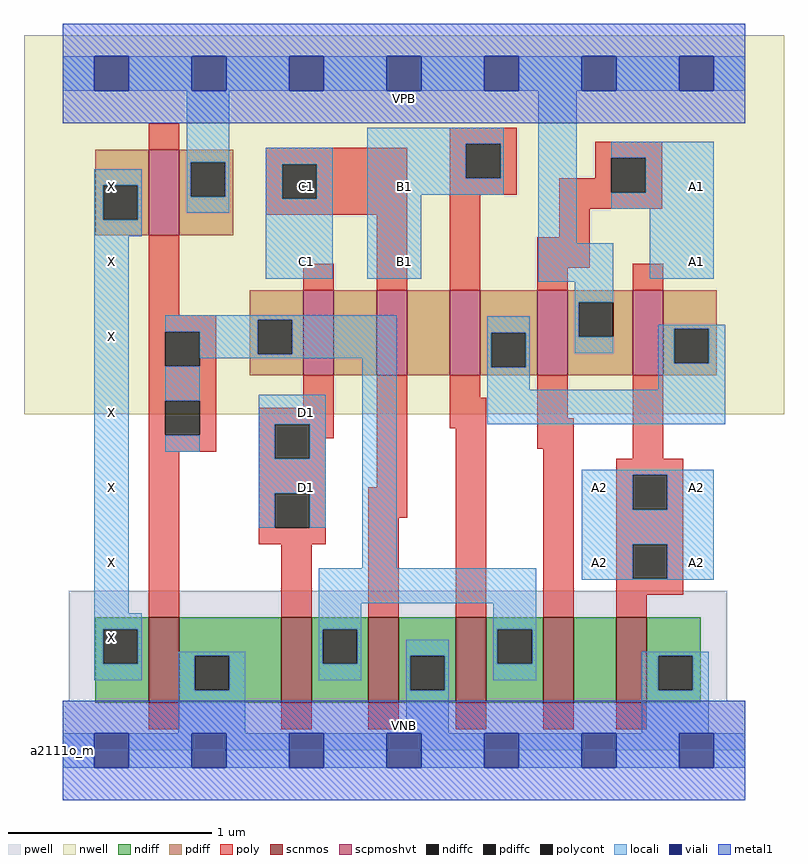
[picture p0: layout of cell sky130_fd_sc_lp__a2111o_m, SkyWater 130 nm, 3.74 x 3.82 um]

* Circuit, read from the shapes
.subckt sky130_fd_sc_lp__a2111o_m A1 A2 B1 C1 D1 VGND VNB VPB VPWR X
XM1 VGND n1 X VNB sky130_fd_pr__nfet_01v8 w=0.42 l=0.15
XM2 n1 D1 VGND VNB sky130_fd_pr__nfet_01v8 w=0.42 l=0.15
XM3 VGND C1 n1 VNB sky130_fd_pr__nfet_01v8 w=0.42 l=0.15
XM4 n1 B1 VGND VNB sky130_fd_pr__nfet_01v8 w=0.42 l=0.15
XM5 n2 A1 n1 VNB sky130_fd_pr__nfet_01v8 w=0.42 l=0.15
XM6 VGND A2 n2 VNB sky130_fd_pr__nfet_01v8 w=0.42 l=0.15
XM7 VPWR n1 X VPB sky130_fd_pr__pfet_01v8_hvt w=0.42 l=0.15
XM8 n3 D1 n1 VPB sky130_fd_pr__pfet_01v8_hvt w=0.42 l=0.15
XM9 n4 C1 n3 VPB sky130_fd_pr__pfet_01v8_hvt w=0.42 l=0.15
XM10 n5 B1 n4 VPB sky130_fd_pr__pfet_01v8_hvt w=0.42 l=0.15
XM11 VPWR A1 n5 VPB sky130_fd_pr__pfet_01v8_hvt w=0.42 l=0.15
XM12 n5 A2 VPWR VPB sky130_fd_pr__pfet_01v8_hvt w=0.42 l=0.15
.ends

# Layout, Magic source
magic
tech sky130A
magscale 1 2
<< nwell >>
rect -38 331 710 704
<< pwell >>
rect 6 49 654 157
rect 0 0 672 49
<< scnmos >>
rect 85 47 115 131
rect 215 47 245 131
rect 301 47 331 131
rect 387 47 417 131
rect 473 47 503 131
rect 545 47 575 131
<< scpmoshvt >>
rect 85 507 115 591
rect 237 369 267 453
rect 309 369 339 453
rect 381 369 411 453
rect 467 369 497 453
rect 561 369 591 453
<< ndiff >>
rect 32 119 85 131
rect 32 85 40 119
rect 74 85 85 119
rect 32 47 85 85
rect 115 93 215 131
rect 115 59 130 93
rect 164 59 215 93
rect 115 47 215 59
rect 245 119 301 131
rect 245 85 256 119
rect 290 85 301 119
rect 245 47 301 85
rect 331 93 387 131
rect 331 59 342 93
rect 376 59 387 93
rect 331 47 387 59
rect 417 119 473 131
rect 417 85 428 119
rect 462 85 473 119
rect 417 47 473 85
rect 503 47 545 131
rect 575 93 628 131
rect 575 59 586 93
rect 620 59 628 93
rect 575 47 628 59
<< pdiff >>
rect 32 556 85 591
rect 32 522 40 556
rect 74 522 85 556
rect 32 507 85 522
rect 115 579 168 591
rect 115 545 126 579
rect 160 545 168 579
rect 115 507 168 545
rect 184 424 237 453
rect 184 390 192 424
rect 226 390 237 424
rect 184 369 237 390
rect 267 369 309 453
rect 339 369 381 453
rect 411 411 467 453
rect 411 377 422 411
rect 456 377 467 411
rect 411 369 467 377
rect 497 441 561 453
rect 497 407 508 441
rect 542 407 561 441
rect 497 369 561 407
rect 591 415 644 453
rect 591 381 602 415
rect 636 381 644 415
rect 591 369 644 381
<< ndiffc >>
rect 40 85 74 119
rect 130 59 164 93
rect 256 85 290 119
rect 342 59 376 93
rect 428 85 462 119
rect 586 59 620 93
<< pdiffc >>
rect 40 522 74 556
rect 126 545 160 579
rect 192 390 226 424
rect 422 377 456 411
rect 508 407 542 441
rect 602 381 636 415
<< poly >>
rect 85 591 115 617
rect 381 597 447 613
rect 200 577 339 593
rect 200 543 216 577
rect 250 543 339 577
rect 200 527 339 543
rect 85 428 115 507
rect 237 453 267 479
rect 309 453 339 527
rect 381 563 397 597
rect 431 563 447 597
rect 524 583 590 599
rect 524 563 540 583
rect 381 547 447 563
rect 489 549 540 563
rect 574 549 590 583
rect 381 453 411 547
rect 489 533 590 549
rect 489 505 519 533
rect 467 475 519 505
rect 467 453 497 475
rect 561 453 591 479
rect 85 412 151 428
rect 85 378 101 412
rect 135 378 151 412
rect 85 344 151 378
rect 85 310 101 344
rect 135 310 151 344
rect 237 337 267 369
rect 85 294 151 310
rect 193 321 267 337
rect 85 131 115 294
rect 193 287 209 321
rect 243 307 267 321
rect 243 287 259 307
rect 193 253 259 287
rect 309 259 339 369
rect 381 347 411 369
rect 381 317 417 347
rect 193 219 209 253
rect 243 219 259 253
rect 193 203 259 219
rect 301 229 339 259
rect 215 131 245 203
rect 301 131 331 229
rect 387 131 417 317
rect 467 327 497 369
rect 467 297 503 327
rect 473 131 503 297
rect 561 287 591 369
rect 545 271 611 287
rect 545 237 561 271
rect 595 237 611 271
rect 545 203 611 237
rect 545 169 561 203
rect 595 169 611 203
rect 545 153 611 169
rect 545 131 575 153
rect 85 21 115 47
rect 215 21 245 47
rect 301 21 331 47
rect 387 21 417 47
rect 473 21 503 47
rect 545 21 575 47
<< polycont >>
rect 216 543 250 577
rect 397 563 431 597
rect 540 549 574 583
rect 101 378 135 412
rect 101 310 135 344
rect 209 287 243 321
rect 209 219 243 253
rect 561 237 595 271
rect 561 169 595 203
<< locali >>
rect 0 649 31 683
rect 65 649 127 683
rect 161 649 223 683
rect 257 649 319 683
rect 353 649 415 683
rect 449 649 511 683
rect 545 649 607 683
rect 641 649 672 683
rect 122 579 164 649
rect 300 597 434 613
rect 31 556 78 572
rect 31 522 40 556
rect 74 522 78 556
rect 122 545 126 579
rect 160 545 164 579
rect 122 529 164 545
rect 200 577 266 593
rect 200 543 216 577
rect 250 543 266 577
rect 31 506 78 522
rect 31 135 65 506
rect 200 464 266 543
rect 300 563 397 597
rect 431 563 434 597
rect 300 547 434 563
rect 300 464 353 547
rect 468 499 506 649
rect 540 583 641 599
rect 574 549 641 583
rect 540 533 641 549
rect 468 461 542 499
rect 578 464 641 533
rect 504 441 542 461
rect 101 424 329 428
rect 101 412 192 424
rect 135 390 192 412
rect 226 390 329 424
rect 135 386 329 390
rect 101 344 135 378
rect 101 294 135 310
rect 193 321 259 350
rect 193 287 209 321
rect 243 287 259 321
rect 193 253 259 287
rect 193 219 209 253
rect 243 219 259 253
rect 295 179 329 386
rect 418 411 460 427
rect 418 377 422 411
rect 456 377 460 411
rect 504 407 508 441
rect 504 391 542 407
rect 586 415 652 419
rect 418 355 460 377
rect 586 381 602 415
rect 636 381 652 415
rect 586 355 652 381
rect 418 321 652 355
rect 511 271 641 276
rect 511 237 561 271
rect 595 237 641 271
rect 511 203 641 237
rect 252 145 466 179
rect 511 169 561 203
rect 595 169 641 203
rect 511 168 641 169
rect 31 119 78 135
rect 31 85 40 119
rect 74 85 78 119
rect 252 119 294 145
rect 31 69 78 85
rect 114 93 180 97
rect 114 59 130 93
rect 164 59 180 93
rect 252 85 256 119
rect 290 85 294 119
rect 424 119 466 145
rect 252 69 294 85
rect 338 93 380 109
rect 114 17 180 59
rect 338 59 342 93
rect 376 59 380 93
rect 424 85 428 119
rect 462 85 466 119
rect 424 69 466 85
rect 570 93 636 97
rect 338 17 380 59
rect 570 59 586 93
rect 620 59 636 93
rect 570 17 636 59
rect 0 -17 31 17
rect 65 -17 127 17
rect 161 -17 223 17
rect 257 -17 319 17
rect 353 -17 415 17
rect 449 -17 511 17
rect 545 -17 607 17
rect 641 -17 672 17
<< viali >>
rect 31 649 65 683
rect 127 649 161 683
rect 223 649 257 683
rect 319 649 353 683
rect 415 649 449 683
rect 511 649 545 683
rect 607 649 641 683
rect 31 -17 65 17
rect 127 -17 161 17
rect 223 -17 257 17
rect 319 -17 353 17
rect 415 -17 449 17
rect 511 -17 545 17
rect 607 -17 641 17
<< metal1 >>
rect 0 683 672 715
rect 0 649 31 683
rect 65 649 127 683
rect 161 649 223 683
rect 257 649 319 683
rect 353 649 415 683
rect 449 649 511 683
rect 545 649 607 683
rect 641 649 672 683
rect 0 617 672 649
rect 0 17 672 49
rect 0 -17 31 17
rect 65 -17 127 17
rect 161 -17 223 17
rect 257 -17 319 17
rect 353 -17 415 17
rect 449 -17 511 17
rect 545 -17 607 17
rect 641 -17 672 17
rect 0 -49 672 -17
<< labels >>
flabel pwell s 0 0 672 49 0 FreeSans 200 0 0 0 VNB
port 7 nsew ground bidirectional
flabel nwell s 0 617 672 666 0 FreeSans 200 0 0 0 VPB
port 8 nsew power bidirectional
rlabel comment s 0 0 0 0 4 a2111o_m
flabel metal1 s 0 617 672 666 0 FreeSans 340 0 0 0 VPWR
port 9 nsew power bidirectional
flabel metal1 s 0 0 672 49 0 FreeSans 340 0 0 0 VGND
port 6 nsew ground bidirectional
flabel locali s 511 168 545 202 0 FreeSans 340 0 0 0 A2
port 2 nsew signal input
flabel locali s 511 242 545 276 0 FreeSans 340 0 0 0 A2
port 2 nsew signal input
flabel locali s 607 168 641 202 0 FreeSans 340 0 0 0 A2
port 2 nsew signal input
flabel locali s 607 242 641 276 0 FreeSans 340 0 0 0 A2
port 2 nsew signal input
flabel locali s 223 464 257 498 0 FreeSans 340 0 0 0 C1
port 4 nsew signal input
flabel locali s 223 538 257 572 0 FreeSans 340 0 0 0 C1
port 4 nsew signal input
flabel locali s 223 242 257 276 0 FreeSans 340 0 0 0 D1
port 5 nsew signal input
flabel locali s 223 316 257 350 0 FreeSans 340 0 0 0 D1
port 5 nsew signal input
flabel locali s 607 464 641 498 0 FreeSans 340 0 0 0 A1
port 1 nsew signal input
flabel locali s 607 538 641 572 0 FreeSans 340 0 0 0 A1
port 1 nsew signal input
flabel locali s 319 464 353 498 0 FreeSans 340 0 0 0 B1
port 3 nsew signal input
flabel locali s 319 538 353 572 0 FreeSans 340 0 0 0 B1
port 3 nsew signal input
flabel locali s 31 94 65 128 0 FreeSans 340 0 0 0 X
port 10 nsew signal output
flabel locali s 31 168 65 202 0 FreeSans 340 0 0 0 X
port 10 nsew signal output
flabel locali s 31 242 65 276 0 FreeSans 340 0 0 0 X
port 10 nsew signal output
flabel locali s 31 316 65 350 0 FreeSans 340 0 0 0 X
port 10 nsew signal output
flabel locali s 31 390 65 424 0 FreeSans 340 0 0 0 X
port 10 nsew signal output
flabel locali s 31 464 65 498 0 FreeSans 340 0 0 0 X
port 10 nsew signal output
flabel locali s 31 538 65 572 0 FreeSans 340 0 0 0 X
port 10 nsew signal output
<< properties >>
string LEFsite unit
string LEFclass CORE
string FIXED_BBOX 0 0 672 666
string GDS_FILE $PDKPATH/libs.ref/sky130_fd_sc_lp/gds/sky130_fd_sc_lp.gds
string LEFsymmetry X Y R90
string GDS_END 1085926
string GDS_START 1077774
<< end >>
